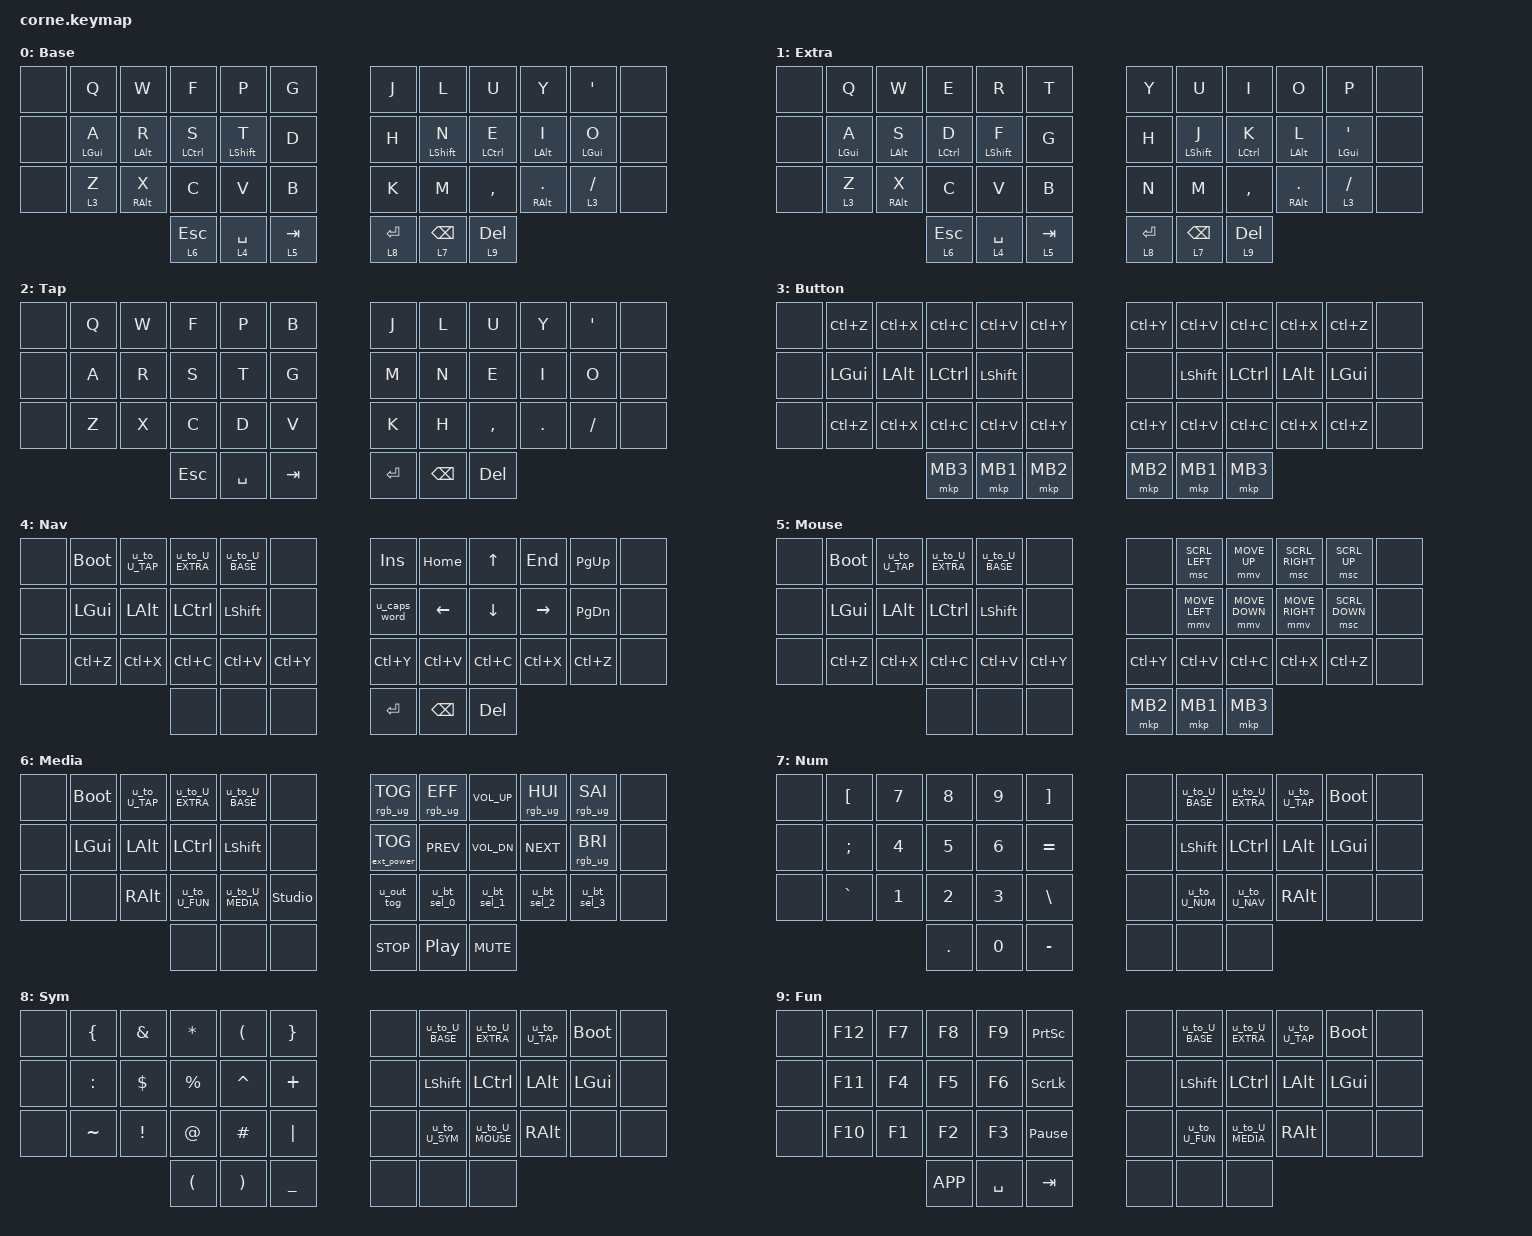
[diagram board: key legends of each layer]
#line 4 "/Users/evanwhitmer/Documents/Git_stuff/miryoku_zmk/miryoku/miryoku.dtsi"
#include <behaviors.dtsi>
#include <behaviors/mouse_keys.dtsi>
#include <dt-bindings/zmk/keys.h>
#include <dt-bindings/zmk/bt.h>
#include <dt-bindings/zmk/rgb.h>
#include <dt-bindings/zmk/outputs.h>
#include <dt-bindings/zmk/ext_power.h>
#line 14 "/Users/evanwhitmer/Documents/Git_stuff/miryoku_zmk/miryoku/miryoku.dtsi"
#include <dt-bindings/zmk/pointing.h>

/ {
  keymap {
    compatible = "zmk,keymap";

    BASE {
        display-name = "Base";
        bindings = <    &none           &kp Q           &kp W           &kp F           &kp P           &kp G       &kp J   &kp L           &kp U           &kp Y           &kp SQT         &none
                        &none           &u_mt LGUI A    &u_mt LALT R    &u_mt LCTRL S   &u_mt LSHFT T   &kp D       &kp H   &u_mt LSHFT N   &u_mt LCTRL E   &u_mt LALT I    &u_mt LGUI O    &none
                        &none           &u_lt 3 Z       &u_mt RALT X    &kp C           &kp V           &kp B       &kp K   &kp M           &kp COMMA       &u_mt RALT DOT  &u_lt 3 SLASH   &none
                        &u_lt 6 ESC     &u_lt 4 SPACE   &u_lt 5 TAB     &u_lt 8 RET     &u_lt 7 BSPC    &u_lt 9 DEL >;
        };

    EXTRA {
        display-name = "Extra";
        bindings = <    &none       &kp Q           &kp W           &kp E           &kp R           &kp T           &kp Y           &kp U           &kp I           &kp O           &kp P           &none
                        &none       &u_mt LGUI A    &u_mt LALT S    &u_mt LCTRL D   &u_mt LSHFT F   &kp G           &kp H           &u_mt LSHFT J   &u_mt LCTRL K   &u_mt LALT L    &u_mt LGUI SQT  &none
                        &none       &u_lt 3 Z       &u_mt RALT X    &kp C           &kp V           &kp B           &kp N           &kp M           &kp COMMA       &u_mt RALT DOT  &u_lt 3 SLASH   &none
                        &u_lt 6 ESC &u_lt 4 SPACE   &u_lt 5 TAB     &u_lt 8 RET     &u_lt 7 BSPC    &u_lt 9 DEL >;
        };

    TAP {
        display-name = "Tap";
        bindings = <    &none   &kp Q       &kp W   &kp F   &kp P       &kp B       &kp J  &kp L  &kp U     &kp Y   &kp SQT     &none
                        &none   &kp A       &kp R   &kp S   &kp T       &kp G       &kp M  &kp N  &kp E     &kp I   &kp O       &none
                        &none   &kp Z       &kp X   &kp C   &kp D       &kp V       &kp K  &kp H  &kp COMMA &kp DOT &kp SLASH   &none
                        &kp ESC &kp SPACE   &kp TAB &kp RET &kp BSPC    &kp DEL >;
        };

    BUTTON {
        display-name = "Button";
        bindings = <    &none       &kp LC(Z)   &kp LC(X)   &kp LC(C)   &kp LC(V)   &kp LC(Y)   &kp LC(Y)   &kp LC(V)   &kp LC(C)   &kp LC(X)   &kp LC(Z)   &none
                        &none       &kp LGUI    &kp LALT    &kp LCTRL   &kp LSHFT   &none       &none       &kp LSHFT   &kp LCTRL   &kp LALT    &kp LGUI    &none
                        &none       &kp LC(Z)   &kp LC(X)   &kp LC(C)   &kp LC(V)   &kp LC(Y)   &kp LC(Y)   &kp LC(V)   &kp LC(C)   &kp LC(X)   &kp LC(Z)   &none
                        &mkp MB3    &mkp MB1    &mkp MB2    &mkp MB2    &mkp MB1    &mkp MB3 >;
        };

    NAV {
        display-name = "Nav";
        bindings = <    &none  &bootloader  &u_to_U_TAP &u_to_U_EXTRA   &u_to_U_BASE    &none       &kp INS         &kp HOME    &kp UP      &kp END     &kp PG_UP   &none
                        &none  &kp LGUI     &kp LALT    &kp LCTRL       &kp LSHFT       &none       &u_caps_word    &kp LEFT   &kp DOWN   &kp RIGHT    &kp PG_DN    &none
                        &none  &kp LC(Z)    &kp LC(X)   &kp LC(C)       &kp LC(V)       &kp LC(Y)   &kp LC(Y)       &kp LC(V)   &kp LC(C)   &kp LC(X)   &kp LC(Z)   &none
                        &none  &none        &none       &kp RET         &kp BSPC        &kp DEL >;
        };

    MOUSE {
        display-name = "Mouse";
        bindings = <    &none  &bootloader  &u_to_U_TAP &u_to_U_EXTRA   &u_to_U_BASE    &none       &none       &msc SCRL_LEFT  &mmv MOVE_UP    &msc SCRL_RIGHT &msc SCRL_UP    &none
                        &none  &kp LGUI     &kp LALT    &kp LCTRL       &kp LSHFT       &none       &none       &mmv MOVE_LEFT  &mmv MOVE_DOWN  &mmv MOVE_RIGHT &msc SCRL_DOWN  &none
                        &none  &kp LC(Z)    &kp LC(X)   &kp LC(C)       &kp LC(V)       &kp LC(Y)   &kp LC(Y)   &kp LC(V)       &kp LC(C)       &kp LC(X)       &kp LC(Z)       &none
                        &none  &none        &none       &mkp MB2        &mkp MB1        &mkp MB3 >;
        };

    MEDIA {
        display-name = "Media";
        bindings = <    &none  &bootloader  &u_to_U_TAP &u_to_U_EXTRA   &u_to_U_BASE    &none               &rgb_ug RGB_TOG     &rgb_ug RGB_EFF &kp C_VOL_UP    &rgb_ug RGB_HUI &rgb_ug RGB_SAI &none
                        &none  &kp LGUI     &kp LALT    &kp LCTRL       &kp LSHFT       &none               &ext_power EP_TOG   &kp C_PREV      &kp C_VOL_DN    &kp C_NEXT      &rgb_ug RGB_BRI &none
                        &none  &none        &kp RALT    &u_to_U_FUN     &u_to_U_MEDIA   &studio_unlock      &u_out_tog          &u_bt_sel_0     &u_bt_sel_1     &u_bt_sel_2     &u_bt_sel_3     &none
                        &none  &none        &none       &kp C_STOP      &kp C_PP        &kp C_MUTE >;
        };

    NUM {
        display-name = "Num";
        bindings = <    &none   &kp LBKT    &kp N7      &kp N8  &kp N9  &kp RBKT    &none  &u_to_U_BASE &u_to_U_EXTRA   &u_to_U_TAP &bootloader &none
                        &none   &kp SEMI    &kp N4      &kp N5  &kp N6  &kp EQUAL   &none  &kp LSHFT    &kp LCTRL       &kp LALT    &kp LGUI    &none
                        &none   &kp GRAVE   &kp N1      &kp N2  &kp N3  &kp BSLH    &none  &u_to_U_NUM  &u_to_U_NAV     &kp RALT    &none       &none
                        &kp DOT &kp N0      &kp MINUS   &none   &none   &none >;
        };

    SYM {
        display-name = "Sym";
        bindings = <    &none       &kp LBRC    &kp AMPS    &kp ASTRK   &kp LPAR    &kp RBRC    &none  &u_to_U_BASE &u_to_U_EXTRA   &u_to_U_TAP &bootloader &none
                        &none       &kp COLON   &kp DLLR    &kp PRCNT   &kp CARET   &kp PLUS    &none  &kp LSHFT    &kp LCTRL       &kp LALT    &kp LGUI    &none
                        &none       &kp TILDE   &kp EXCL    &kp AT      &kp HASH    &kp PIPE    &none  &u_to_U_SYM  &u_to_U_MOUSE   &kp RALT    &none       &none
                        &kp LPAR    &kp RPAR    &kp UNDER   &none       &none       &none >;
        };

    FUN {
        display-name = "Fun";
        bindings = <    &none       &kp F12     &kp F7  &kp F8  &kp F9  &kp PSCRN       &none  &u_to_U_BASE &u_to_U_EXTRA   &u_to_U_TAP &bootloader &none
                        &none       &kp F11     &kp F4  &kp F5  &kp F6  &kp SLCK        &none  &kp LSHFT    &kp LCTRL       &kp LALT    &kp LGUI    &none
                        &none       &kp F10     &kp F1  &kp F2  &kp F3  &kp PAUSE_BREAK &none  &u_to_U_FUN  &u_to_U_MEDIA   &kp RALT    &none       &none
                        &kp K_APP   &kp SPACE   &kp TAB &none   &none   &none >;
        };

  };
};
#line 20 "/Users/evanwhitmer/Documents/Git_stuff/miryoku_zmk/miryoku/miryoku_shift_functions.dtsi"
/ { macros { u_macro_u_bt_sel_0: u_macro_u_bt_sel_0 { compatible = "zmk,behavior-macro"; #binding-cells = <0>; wait-ms = <0>; bindings = <&bt BT_SEL 0 &bt BT_CLR>; }; }; }; / { behaviors { u_bt_sel_0: u_bt_sel_0 { compatible = "zmk,behavior-mod-morph"; #binding-cells = <0>; bindings = <&bt BT_SEL 0>, <&u_macro_u_bt_sel_0>; mods = <(MOD_LSFT|MOD_RSFT)>; }; }; };
/ { macros { u_macro_u_bt_sel_1: u_macro_u_bt_sel_1 { compatible = "zmk,behavior-macro"; #binding-cells = <0>; wait-ms = <0>; bindings = <&bt BT_SEL 1 &bt BT_CLR>; }; }; }; / { behaviors { u_bt_sel_1: u_bt_sel_1 { compatible = "zmk,behavior-mod-morph"; #binding-cells = <0>; bindings = <&bt BT_SEL 1>, <&u_macro_u_bt_sel_1>; mods = <(MOD_LSFT|MOD_RSFT)>; }; }; };
/ { macros { u_macro_u_bt_sel_2: u_macro_u_bt_sel_2 { compatible = "zmk,behavior-macro"; #binding-cells = <0>; wait-ms = <0>; bindings = <&bt BT_SEL 2 &bt BT_CLR>; }; }; }; / { behaviors { u_bt_sel_2: u_bt_sel_2 { compatible = "zmk,behavior-mod-morph"; #binding-cells = <0>; bindings = <&bt BT_SEL 2>, <&u_macro_u_bt_sel_2>; mods = <(MOD_LSFT|MOD_RSFT)>; }; }; };
/ { macros { u_macro_u_bt_sel_3: u_macro_u_bt_sel_3 { compatible = "zmk,behavior-macro"; #binding-cells = <0>; wait-ms = <0>; bindings = <&bt BT_SEL 3 &bt BT_CLR>; }; }; }; / { behaviors { u_bt_sel_3: u_bt_sel_3 { compatible = "zmk,behavior-mod-morph"; #binding-cells = <0>; bindings = <&bt BT_SEL 3>, <&u_macro_u_bt_sel_3>; mods = <(MOD_LSFT|MOD_RSFT)>; }; }; };
/ { macros { u_macro_u_bt_sel_4: u_macro_u_bt_sel_4 { compatible = "zmk,behavior-macro"; #binding-cells = <0>; wait-ms = <0>; bindings = <&bt BT_SEL 4 &bt BT_CLR>; }; }; }; / { behaviors { u_bt_sel_4: u_bt_sel_4 { compatible = "zmk,behavior-mod-morph"; #binding-cells = <0>; bindings = <&bt BT_SEL 4>, <&u_macro_u_bt_sel_4>; mods = <(MOD_LSFT|MOD_RSFT)>; }; }; };

/ { behaviors { u_out_tog: u_out_tog { compatible = "zmk,behavior-mod-morph"; #binding-cells = <0>; bindings = <&out OUT_TOG>, <&out OUT_USB>; mods = <(MOD_LSFT|MOD_RSFT)>; }; }; };

/ { behaviors { u_caps_word: u_caps_word { compatible = "zmk,behavior-mod-morph"; #binding-cells = <0>; bindings = <&caps_word>, <&kp CAPS>; mods = <(MOD_LSFT|MOD_RSFT)>; }; }; };
#line 18 "/Users/evanwhitmer/Documents/Git_stuff/miryoku_zmk/miryoku/miryoku_double_tap_guard.dtsi"
/ { behaviors { u_to_U_BASE: u_to_U_BASE { compatible = "zmk,behavior-tap-dance"; #binding-cells = <0>; tapping-term-ms = <200>; bindings = <&none>, <&to 0>; }; }; }; / { behaviors { u_to_U_EXTRA: u_to_U_EXTRA { compatible = "zmk,behavior-tap-dance"; #binding-cells = <0>; tapping-term-ms = <200>; bindings = <&none>, <&to 1>; }; }; }; / { behaviors { u_to_U_TAP: u_to_U_TAP { compatible = "zmk,behavior-tap-dance"; #binding-cells = <0>; tapping-term-ms = <200>; bindings = <&none>, <&to 2>; }; }; }; / { behaviors { u_to_U_BUTTON: u_to_U_BUTTON { compatible = "zmk,behavior-tap-dance"; #binding-cells = <0>; tapping-term-ms = <200>; bindings = <&none>, <&to 3>; }; }; }; / { behaviors { u_to_U_NAV: u_to_U_NAV { compatible = "zmk,behavior-tap-dance"; #binding-cells = <0>; tapping-term-ms = <200>; bindings = <&none>, <&to 4>; }; }; }; / { behaviors { u_to_U_MOUSE: u_to_U_MOUSE { compatible = "zmk,behavior-tap-dance"; #binding-cells = <0>; tapping-term-ms = <200>; bindings = <&none>, <&to 5>; }; }; }; / { behaviors { u_to_U_MEDIA: u_to_U_MEDIA { compatible = "zmk,behavior-tap-dance"; #binding-cells = <0>; tapping-term-ms = <200>; bindings = <&none>, <&to 6>; }; }; }; / { behaviors { u_to_U_NUM: u_to_U_NUM { compatible = "zmk,behavior-tap-dance"; #binding-cells = <0>; tapping-term-ms = <200>; bindings = <&none>, <&to 7>; }; }; }; / { behaviors { u_to_U_SYM: u_to_U_SYM { compatible = "zmk,behavior-tap-dance"; #binding-cells = <0>; tapping-term-ms = <200>; bindings = <&none>, <&to 8>; }; }; }; / { behaviors { u_to_U_FUN: u_to_U_FUN { compatible = "zmk,behavior-tap-dance"; #binding-cells = <0>; tapping-term-ms = <200>; bindings = <&none>, <&to 9>; }; }; };
#line 4 "/Users/evanwhitmer/Documents/Git_stuff/miryoku_zmk/miryoku/miryoku_mousekeys.dtsi"
&mmv {
  acceleration-exponent = <1>;
  time-to-max-speed-ms = <1500>;
  delay-ms = <0>;
};
#line 4 "/Users/evanwhitmer/Documents/Git_stuff/miryoku_zmk/miryoku/miryoku_behaviors.dtsi"
/ {
  behaviors {
    u_mt: u_mt {
      compatible = "zmk,behavior-hold-tap";
      #binding-cells = <2>;
      tapping-term-ms = <200>;
      require-prior-idle-ms = <125>;
      flavor = "tap-preferred";
      bindings = <&kp>, <&kp>;
    };
    u_lt: u_lt {
      compatible = "zmk,behavior-hold-tap";
      #binding-cells = <2>;
      tapping-term-ms = <200>;
      require-prior-idle-ms = <125>;
      flavor = "tap-preferred";
      bindings = <&mo>, <&kp>;
    };
  };
};
